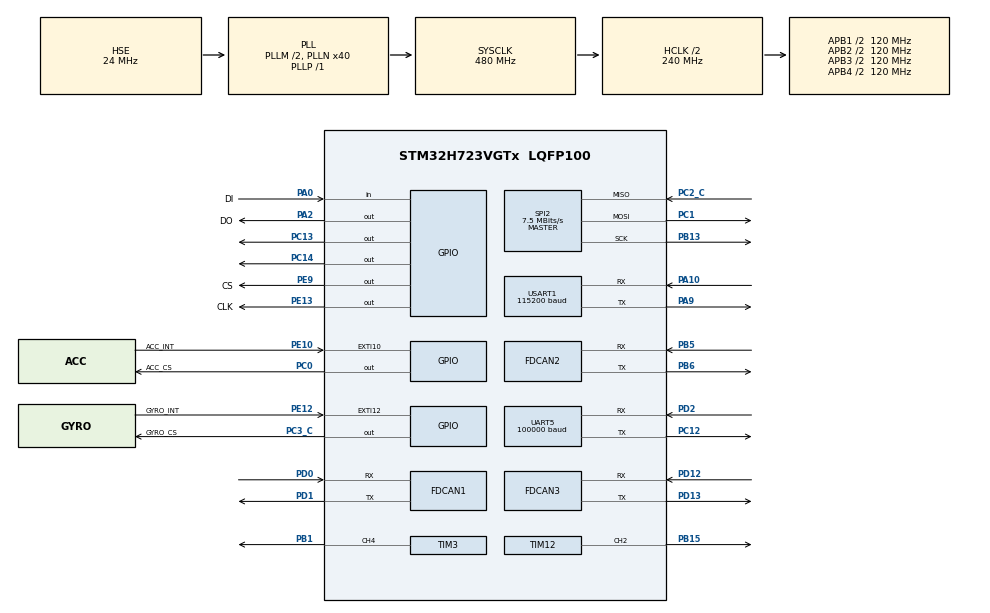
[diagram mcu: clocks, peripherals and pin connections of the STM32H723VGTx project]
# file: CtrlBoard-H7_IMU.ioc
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Dma.Request0=SPI2_RX
Dma.Request1=SPI2_TX
Dma.Request2=USART1_RX
Dma.Request3=USART1_TX
Dma.Request4=UART5_RX
Dma.SPI2_RX.0.Direction=DMA_PERIPH_TO_MEMORY
Dma.SPI2_RX.0.EventEnable=DISABLE
Dma.SPI2_RX.0.FIFOMode=DMA_FIFOMODE_DISABLE
Dma.SPI2_RX.0.Instance=DMA1_Stream0
Dma.SPI2_RX.0.MemDataAlignment=DMA_MDATAALIGN_BYTE
Dma.SPI2_RX.0.MemInc=DMA_MINC_ENABLE
Dma.SPI2_RX.0.Mode=DMA_NORMAL
Dma.SPI2_RX.0.PeriphDataAlignment=DMA_PDATAALIGN_BYTE
Dma.SPI2_RX.0.PeriphInc=DMA_PINC_DISABLE
Dma.SPI2_RX.0.Polarity=HAL_DMAMUX_REQ_GEN_RISING
Dma.SPI2_RX.0.Priority=DMA_PRIORITY_VERY_HIGH
Dma.SPI2_RX.0.RequestNumber=1
Dma.SPI2_RX.0.SignalID=NONE
Dma.SPI2_RX.0.SyncEnable=DISABLE
Dma.SPI2_RX.0.SyncPolarity=HAL_DMAMUX_SYNC_NO_EVENT
Dma.SPI2_RX.0.SyncRequestNumber=1
Dma.SPI2_RX.0.SyncSignalID=NONE
Dma.SPI2_TX.1.Direction=DMA_MEMORY_TO_PERIPH
Dma.SPI2_TX.1.EventEnable=DISABLE
Dma.SPI2_TX.1.FIFOMode=DMA_FIFOMODE_DISABLE
Dma.SPI2_TX.1.Instance=DMA1_Stream4
Dma.SPI2_TX.1.MemDataAlignment=DMA_MDATAALIGN_BYTE
Dma.SPI2_TX.1.MemInc=DMA_MINC_ENABLE
Dma.SPI2_TX.1.Mode=DMA_NORMAL
Dma.SPI2_TX.1.PeriphDataAlignment=DMA_PDATAALIGN_BYTE
Dma.SPI2_TX.1.PeriphInc=DMA_PINC_DISABLE
Dma.SPI2_TX.1.Polarity=HAL_DMAMUX_REQ_GEN_RISING
Dma.SPI2_TX.1.Priority=DMA_PRIORITY_HIGH
Dma.SPI2_TX.1.RequestNumber=1
Dma.SPI2_TX.1.SignalID=NONE
Dma.SPI2_TX.1.SyncEnable=DISABLE
Dma.SPI2_TX.1.SyncPolarity=HAL_DMAMUX_SYNC_NO_EVENT
Dma.SPI2_TX.1.SyncRequestNumber=1
Dma.SPI2_TX.1.SyncSignalID=NONE
Dma.UART5_RX.4.Direction=DMA_PERIPH_TO_MEMORY
Dma.UART5_RX.4.EventEnable=DISABLE
Dma.UART5_RX.4.FIFOMode=DMA_FIFOMODE_DISABLE
Dma.UART5_RX.4.Instance=DMA1_Stream1
Dma.UART5_RX.4.MemDataAlignment=DMA_MDATAALIGN_BYTE
Dma.UART5_RX.4.MemInc=DMA_MINC_ENABLE
Dma.UART5_RX.4.Mode=DMA_NORMAL
Dma.UART5_RX.4.PeriphDataAlignment=DMA_PDATAALIGN_BYTE
Dma.UART5_RX.4.PeriphInc=DMA_PINC_DISABLE
Dma.UART5_RX.4.Polarity=HAL_DMAMUX_REQ_GEN_RISING
Dma.UART5_RX.4.Priority=DMA_PRIORITY_LOW
Dma.UART5_RX.4.RequestNumber=1
Dma.UART5_RX.4.SignalID=NONE
Dma.UART5_RX.4.SyncEnable=DISABLE
Dma.UART5_RX.4.SyncPolarity=HAL_DMAMUX_SYNC_NO_EVENT
Dma.UART5_RX.4.SyncRequestNumber=1
Dma.UART5_RX.4.SyncSignalID=NONE
Dma.USART1_RX.2.Direction=DMA_PERIPH_TO_MEMORY
Dma.USART1_RX.2.EventEnable=DISABLE
Dma.USART1_RX.2.FIFOMode=DMA_FIFOMODE_DISABLE
Dma.USART1_RX.2.Instance=DMA1_Stream2
Dma.USART1_RX.2.MemDataAlignment=DMA_MDATAALIGN_BYTE
Dma.USART1_RX.2.MemInc=DMA_MINC_ENABLE
Dma.USART1_RX.2.Mode=DMA_NORMAL
Dma.USART1_RX.2.PeriphDataAlignment=DMA_PDATAALIGN_BYTE
Dma.USART1_RX.2.PeriphInc=DMA_PINC_DISABLE
Dma.USART1_RX.2.Polarity=HAL_DMAMUX_REQ_GEN_RISING
Dma.USART1_RX.2.Priority=DMA_PRIORITY_LOW
Dma.USART1_RX.2.RequestNumber=1
Dma.USART1_RX.2.SignalID=NONE
Dma.USART1_RX.2.SyncEnable=DISABLE
Dma.USART1_RX.2.SyncPolarity=HAL_DMAMUX_SYNC_NO_EVENT
Dma.USART1_RX.2.SyncRequestNumber=1
Dma.USART1_RX.2.SyncSignalID=NONE
Dma.USART1_TX.3.Direction=DMA_MEMORY_TO_PERIPH
Dma.USART1_TX.3.EventEnable=DISABLE
Dma.USART1_TX.3.FIFOMode=DMA_FIFOMODE_DISABLE
Dma.USART1_TX.3.Instance=DMA1_Stream3
Dma.USART1_TX.3.MemDataAlignment=DMA_MDATAALIGN_BYTE
Dma.USART1_TX.3.MemInc=DMA_MINC_ENABLE
Dma.USART1_TX.3.Mode=DMA_NORMAL
Dma.USART1_TX.3.PeriphDataAlignment=DMA_PDATAALIGN_BYTE
Dma.USART1_TX.3.PeriphInc=DMA_PINC_DISABLE
Dma.USART1_TX.3.Polarity=HAL_DMAMUX_REQ_GEN_RISING
Dma.USART1_TX.3.Priority=DMA_PRIORITY_LOW
Dma.USART1_TX.3.RequestNumber=1
Dma.USART1_TX.3.SignalID=NONE
Dma.USART1_TX.3.SyncEnable=DISABLE
Dma.USART1_TX.3.SyncPolarity=HAL_DMAMUX_SYNC_NO_EVENT
Dma.USART1_TX.3.SyncRequestNumber=1
Dma.USART1_TX.3.SyncSignalID=NONE
FDCAN1.CalculateBaudRateNominal=1000000
FDCAN1.CalculateTimeBitNominal=1000
FDCAN1.CalculateTimeQuantumNominal=40.0
FDCAN1.DataPrescaler=4
FDCAN1.DataTimeSeg1=19
FDCAN1.DataTimeSeg2=5
FDCAN1.ExtFiltersNbr=5
FDCAN1.NominalPrescaler=4
FDCAN1.NominalTimeSeg1=19
FDCAN1.NominalTimeSeg2=5
FDCAN1.RxFifo0ElmtSize=FDCAN_DATA_BYTES_24
FDCAN1.RxFifo0ElmtsNbr=4
FDCAN1.RxFifo1ElmtSize=FDCAN_DATA_BYTES_24
FDCAN1.StdFiltersNbr=5
FDCAN1.TxElmtSize=FDCAN_DATA_BYTES_24
FDCAN1.TxFifoQueueElmtsNbr=8
FDCAN2.CalculateBaudRateNominal=1000000
FDCAN2.CalculateTimeBitNominal=1000
FDCAN2.CalculateTimeQuantumNominal=50.0
FDCAN2.DataPrescaler=5
FDCAN2.DataTimeSeg1=14
FDCAN2.DataTimeSeg2=5
FDCAN2.ExtFiltersNbr=5
FDCAN2.MessageRAMOffset=854
FDCAN2.NominalPrescaler=5
FDCAN2.NominalTimeSeg1=14
FDCAN2.NominalTimeSeg2=5
FDCAN2.RxFifo1ElmtSize=FDCAN_DATA_BYTES_24
FDCAN2.RxFifo1ElmtsNbr=4
FDCAN2.StdFiltersNbr=5
FDCAN2.TxElmtSize=FDCAN_DATA_BYTES_16
FDCAN2.TxFifoQueueElmtsNbr=4
FDCAN3.CalculateBaudRateNominal=1000000
FDCAN3.CalculateTimeBitNominal=1000
FDCAN3.CalculateTimeQuantumNominal=50.0
FDCAN3.DataPrescaler=5
FDCAN3.DataTimeSeg1=14
FDCAN3.DataTimeSeg2=5
FDCAN3.ExtFiltersNbr=5
FDCAN3.MessageRAMOffset=1709
FDCAN3.NominalPrescaler=5
FDCAN3.NominalTimeSeg1=14
FDCAN3.NominalTimeSeg2=5
FDCAN3.RxFifo0ElmtsNbr=2
FDCAN3.StdFiltersNbr=5
FDCAN3.TxFifoQueueElmtsNbr=3
FREERTOS.MEMORY_ALLOCATION=0
FREERTOS.Tasks01=defaultTask,0,128,StartDefaultTask,Default,NULL,Dynamic,NULL,NULL;INS_TASK,3,512,INS_Task,Default,NULL,Dynamic,NULL,NULL;CHASSISR_TASK,1,512,ChassisR_Task,Default,NULL,Dynamic,NULL,NULL
FREERTOS.configENABLE_FPU=1
FREERTOS.configTOTAL_HEAP_SIZE=30720
Mcu.Family=STM32H7
Mcu.Name=STM32H723VGTx
Mcu.Package=LQFP100
NVIC.DMA1_Stream0_IRQn=true\:6\:0\:true\:false\:true\:true\:false\:true\:true
NVIC.DMA1_Stream1_IRQn=true\:6\:0\:true\:false\:true\:true\:false\:true\:true
NVIC.DMA1_Stream2_IRQn=true\:5\:0\:false\:false\:true\:true\:false\:true\:true
NVIC.DMA1_Stream3_IRQn=true\:5\:0\:false\:false\:true\:true\:false\:true\:true
NVIC.DMA1_Stream4_IRQn=true\:5\:0\:false\:false\:true\:true\:false\:true\:true
NVIC.FDCAN1_IT0_IRQn=true\:6\:0\:true\:false\:true\:true\:true\:true\:true
NVIC.FDCAN2_IT0_IRQn=true\:5\:0\:true\:false\:true\:true\:true\:true\:true
NVIC.FDCAN3_IT0_IRQn=true\:5\:0\:false\:false\:true\:true\:true\:true\:true
NVIC.PriorityGroup=NVIC_PRIORITYGROUP_4
NVIC.SPI2_IRQn=true\:5\:0\:true\:false\:true\:true\:false\:true\:true
NVIC.TIM2_IRQn=true\:15\:0\:false\:false\:true\:false\:false\:true\:true
NVIC.TimeBase=TIM2_IRQn
NVIC.TimeBaseIP=TIM2
NVIC.UART5_IRQn=true\:5\:0\:false\:false\:true\:true\:true\:true\:true
NVIC.USART1_IRQn=true\:5\:0\:false\:false\:true\:true\:true\:true\:true
PA0.GPIO_Label=DI
PA0.GPIO_PuPd=GPIO_PULLUP
PA0.Signal=GPIO_Input
PA10.Mode=Asynchronous
PA10.Signal=USART1_RX
PA13(JTMS/SWDIO).Mode=Serial_Wire
PA13(JTMS/SWDIO).Signal=DEBUG_JTMS-SWDIO
PA14(JTCK/SWCLK).Mode=Serial_Wire
PA14(JTCK/SWCLK).Signal=DEBUG_JTCK-SWCLK
PA2.GPIO_Label=DO
PA2.GPIO_PuPd=GPIO_PULLUP
PA2.GPIO_Speed=GPIO_SPEED_FREQ_VERY_HIGH
PA2.PinState=GPIO_PIN_SET
PA2.Signal=GPIO_Output
PA9.Mode=Asynchronous
PA9.Signal=USART1_TX
PB1.Signal=S_TIM3_CH4
PB13.GPIO_Speed=GPIO_SPEED_FREQ_VERY_HIGH
PB13.Mode=Full_Duplex_Master
PB13.Signal=SPI2_SCK
PB15.Signal=S_TIM12_CH2
PB5.Mode=FDCAN_Activate
PB5.Signal=FDCAN2_RX
PB6.Mode=FDCAN_Activate
PB6.Signal=FDCAN2_TX
PC0.GPIO_Label=ACC_CS
PC0.GPIO_Speed=GPIO_SPEED_FREQ_VERY_HIGH
PC0.PinState=GPIO_PIN_SET
PC0.Signal=GPIO_Output
PC1.GPIO_Speed=GPIO_SPEED_FREQ_VERY_HIGH
PC1.Mode=Full_Duplex_Master
PC1.Signal=SPI2_MOSI
PC12.Mode=Asynchronous
PC12.Signal=UART5_TX
PC13.Signal=GPIO_Output
PC14-OSC32_IN.Signal=GPIO_Output
PC2_C.GPIO_Speed=GPIO_SPEED_FREQ_VERY_HIGH
PC2_C.Mode=Full_Duplex_Master
PC2_C.Signal=SPI2_MISO
PC3_C.GPIO_Label=GYRO_CS
PC3_C.GPIO_Speed=GPIO_SPEED_FREQ_VERY_HIGH
PC3_C.PinState=GPIO_PIN_SET
PC3_C.Signal=GPIO_Output
PD0.Mode=FDCAN_Activate
PD0.Signal=FDCAN1_RX
PD1.Mode=FDCAN_Activate
PD1.Signal=FDCAN1_TX
PD12.Mode=FDCAN_Activate
PD12.Signal=FDCAN3_RX
PD13.Mode=FDCAN_Activate
PD13.Signal=FDCAN3_TX
PD2.Mode=Asynchronous
PD2.Signal=UART5_RX
PE10.GPIO_Label=ACC_INT
PE10.Signal=GPXTI10
PE12.GPIO_Label=GYRO_INT
PE12.Signal=GPXTI12
PE13.GPIO_Label=CLK
PE13.GPIO_PuPd=GPIO_PULLUP
PE13.GPIO_Speed=GPIO_SPEED_FREQ_VERY_HIGH
PE13.PinState=GPIO_PIN_SET
PE13.Signal=GPIO_Output
PE9.GPIO_Label=CS
PE9.GPIO_PuPd=GPIO_PULLUP
PE9.GPIO_Speed=GPIO_SPEED_FREQ_VERY_HIGH
PE9.PinState=GPIO_PIN_SET
PE9.Signal=GPIO_Output
PH0-OSC_IN.Mode=HSE-External-Oscillator
PH0-OSC_IN.Signal=RCC_OSC_IN
PH1-OSC_OUT.Mode=HSE-External-Oscillator
PH1-OSC_OUT.Signal=RCC_OSC_OUT
ProjectManager.HeapSize=0x200
ProjectManager.StackSize=0x800
ProjectManager.TargetToolchain=CMake
RCC.ADCFreq_Value=100000000
RCC.APB1Freq_Value=120000000
RCC.APB2Freq_Value=120000000
RCC.APB3Freq_Value=120000000
RCC.APB4Freq_Value=120000000
RCC.CortexFreq_Value=480000000
RCC.D1PPRE=RCC_APB3_DIV2
RCC.D2PPRE1=RCC_APB1_DIV2
RCC.D2PPRE2=RCC_APB2_DIV2
RCC.D3PPRE=RCC_APB4_DIV2
RCC.DIVM1=2
RCC.DIVM2=24
RCC.DIVN1=40
RCC.DIVN2=200
RCC.DIVP1=1
RCC.FDCANCLockSelection=RCC_FDCANCLKSOURCE_PLL2
RCC.HCLKFreq_Value=240000000
RCC.HPRE=RCC_HCLK_DIV2
RCC.HSE_VALUE=24000000
RCC.PLL2FRACN=0
RCC.PLL3FRACN=0
RCC.PLLFRACN=0
RCC.PLLSourceVirtual=RCC_PLLSOURCE_HSE
RCC.SYSCLKFreq_VALUE=480000000
RCC.SYSCLKSource=RCC_SYSCLKSOURCE_PLLCLK
RCC.USBFreq_Value=240000000
SH.S_TIM12_CH2.0=TIM12_CH2,PWM Generation2 CH2
SH.S_TIM3_CH4.0=TIM3_CH4,PWM Generation4 CH4
SPI2.BaudRatePrescaler=SPI_BAUDRATEPRESCALER_32
SPI2.CLKPhase=SPI_PHASE_2EDGE
SPI2.CLKPolarity=SPI_POLARITY_HIGH
SPI2.CalculateBaudRate=7.5 MBits/s
SPI2.DataSize=SPI_DATASIZE_8BIT
SPI2.Direction=SPI_DIRECTION_2LINES
SPI2.Mode=SPI_MODE_MASTER
SPI2.VirtualType=VM_MASTER
TIM12.Channel-PWM\ Generation2\ CH2=TIM_CHANNEL_2
TIM12.Period=2000-1
TIM12.Prescaler=24-1
TIM12.Pulse-PWM\ Generation2\ CH2=1000
TIM3.AutoReloadPreload=TIM_AUTORELOAD_PRELOAD_ENABLE
TIM3.Channel-PWM\ Generation4\ CH4=TIM_CHANNEL_4
TIM3.Period=10000-1
TIM3.Prescaler=24-1
UART5.BaudRate=100000
UART5.Parity=PARITY_EVEN
UART5.StopBits=UART_STOPBITS_2
UART5.WordLength=WORDLENGTH_9B
USART1.BaudRate=115200
USART1.VirtualMode-Asynchronous=VM_ASYNC
VP_FREERTOS_VS_CMSIS_V1.Mode=CMSIS_V1
VP_MEMORYMAP_VS_MEMORYMAP.Mode=CurAppReg
VP_SYS_VS_tim2.Mode=TIM2
board=custom

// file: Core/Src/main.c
/* USER CODE BEGIN Header */
/**
  ******************************************************************************
  * @file           : main.c
  * @brief          : 六轮差速车主程序入口
  ******************************************************************************
  * @attention
  *
  * Copyright (c) 2024 STMicroelectronics.
  * All rights reserved.
  *
  * This software is licensed under terms that can be found in the LICENSE file
  * in the root directory of this software component.
  * If no LICENSE file comes with this software, it is provided AS-IS.
  *
  ******************************************************************************
  */
/* USER CODE END Header */
/* 头文件 ------------------------------------------------------------------*/
#include "main.h"
#include "cmsis_os.h"
#include "dma.h"
#include "fdcan.h"
#include "spi.h"
#include "tim.h"
#include "usart.h"
#include "gpio.h"

/* 用户头文件 --------------------------------------------------------------*/
/* USER CODE BEGIN Includes */
#include "BMI088driver.h"
#include "kalman_filter.h"
#include "mahony_filter.h"
#include "bsp_dwt.h"
#include "BMI088Middleware.h"
#include "can_bsp.h"
#include "rc_sbus.h"
#include "Chaiss_Communication.h"
/* USER CODE END Includes */

/* 用户类型定义 ------------------------------------------------------------*/

/* 用户宏定义 --------------------------------------------------------------*/

/* 用户宏 ------------------------------------------------------------------*/

/* 用户变量 ----------------------------------------------------------------*/

/* 函数声明 ------------------------------------------------------------*/
void SystemClock_Config(void);
void PeriphCommonClock_Config(void);
void MX_FREERTOS_Init(void);

/* 用户私有代码 -------------------------------------------------------------*/

/**
  * @brief  应用程序入口
  * @retval 程序返回值；嵌入式程序正常运行时不会返回
  */
int main(void)
{

  /* 微控制器配置 -------------------------------------------------------------*/

  /* 复位所有外设，初始化 Flash 接口和 HAL 系统时基。 */
  HAL_Init();

  /* USER CODE BEGIN Init */
//06 01 00 00 00 00 00 00 00 00 00 00 00 00 80 3F
  /* USER CODE END Init */

  /* 配置系统主时钟。 */
  SystemClock_Config();

  /* 配置 FDCAN 等外设使用的公共时钟。 */
  PeriphCommonClock_Config();

  /* 初始化 CubeMX 配置的全部外设。 */
  MX_GPIO_Init();
  MX_DMA_Init();
  MX_SPI2_Init();
  MX_FDCAN1_Init();
  MX_FDCAN2_Init();
  MX_TIM3_Init();
  MX_FDCAN3_Init();
  MX_USART1_UART_Init();
  MX_UART5_Init();
  MX_TIM12_Init();
  /* USER CODE BEGIN 2 */
  	DWT_Init(480);

  /* 初始化 BMI088；初始化失败时持续重试，防止在 IMU 不可用时启动底盘。 */
  while (BMI088_init(&hspi2, 0) != BMI088_NO_ERROR)
	{
	  ;
	}

	/* IMU 初始化完成后开启两路外设电源输出。 */
	Power_OUT1_ON;
	Power_OUT2_ON;

  /* 配置并启动左右两侧电机使用的两路 FDCAN。 */
  FDCAN1_Config();
	FDCAN2_Config();

  /* UART5 receives SBUS; USART1 (PA9/PA10, 115200 8N1) receives VX/VY/VZ. */
  rc_sbus_init();
  Chaiss_Communication_Init();  /* USER CODE END 2 */

  /* 调用 FreeRTOS 对象初始化函数。 */
  MX_FREERTOS_Init();

  /* 启动 FreeRTOS 调度器；成功后程序由各任务接管。 */
  osKernelStart();

  /* 正常情况下不会执行到下面的 while 循环。 */
  while (1)
  {

  }
}

/**
  * @brief 配置系统时钟
  * @retval 无
  */
void SystemClock_Config(void)
{
  RCC_OscInitTypeDef RCC_OscInitStruct = {0};
  RCC_ClkInitTypeDef RCC_ClkInitStruct = {0};

  /** 允许更新电源配置
  */
  HAL_PWREx_ConfigSupply(PWR_LDO_SUPPLY);

  /** 配置主内部稳压器输出电压
  */
  __HAL_PWR_VOLTAGESCALING_CONFIG(PWR_REGULATOR_VOLTAGE_SCALE0);

  while(!__HAL_PWR_GET_FLAG(PWR_FLAG_VOSRDY)) {}

  /** 根据指定参数初始化 RCC 振荡器
  * 参数保存在 RCC_OscInitTypeDef 结构体中。
  */
  RCC_OscInitStruct.OscillatorType = RCC_OSCILLATORTYPE_HSE;
  RCC_OscInitStruct.HSEState = RCC_HSE_ON;
  RCC_OscInitStruct.PLL.PLLState = RCC_PLL_ON;
  RCC_OscInitStruct.PLL.PLLSource = RCC_PLLSOURCE_HSE;
  RCC_OscInitStruct.PLL.PLLM = 2;
  RCC_OscInitStruct.PLL.PLLN = 40;
  RCC_OscInitStruct.PLL.PLLP = 1;
  RCC_OscInitStruct.PLL.PLLQ = 2;
  RCC_OscInitStruct.PLL.PLLR = 2;
  RCC_OscInitStruct.PLL.PLLRGE = RCC_PLL1VCIRANGE_3;
  RCC_OscInitStruct.PLL.PLLVCOSEL = RCC_PLL1VCOWIDE;
  RCC_OscInitStruct.PLL.PLLFRACN = 0;
  if (HAL_RCC_OscConfig(&RCC_OscInitStruct) != HAL_OK)
  {
    Error_Handler();
  }

  /** 初始化 CPU、AHB 和 APB 总线时钟
  */
  RCC_ClkInitStruct.ClockType = RCC_CLOCKTYPE_HCLK|RCC_CLOCKTYPE_SYSCLK
                              |RCC_CLOCKTYPE_PCLK1|RCC_CLOCKTYPE_PCLK2
                              |RCC_CLOCKTYPE_D3PCLK1|RCC_CLOCKTYPE_D1PCLK1;
  RCC_ClkInitStruct.SYSCLKSource = RCC_SYSCLKSOURCE_PLLCLK;
  RCC_ClkInitStruct.SYSCLKDivider = RCC_SYSCLK_DIV1;
  RCC_ClkInitStruct.AHBCLKDivider = RCC_HCLK_DIV2;
  RCC_ClkInitStruct.APB3CLKDivider = RCC_APB3_DIV2;
  RCC_ClkInitStruct.APB1CLKDivider = RCC_APB1_DIV2;
  RCC_ClkInitStruct.APB2CLKDivider = RCC_APB2_DIV2;
  RCC_ClkInitStruct.APB4CLKDivider = RCC_APB4_DIV2;

  if (HAL_RCC_ClockConfig(&RCC_ClkInitStruct, FLASH_LATENCY_3) != HAL_OK)
  {
    Error_Handler();
  }
}

/**
  * @brief 配置外设公共时钟
  * @retval 无
  */
void PeriphCommonClock_Config(void)
{
  RCC_PeriphCLKInitTypeDef PeriphClkInitStruct = {0};

  /** 初始化外设时钟
  */
  PeriphClkInitStruct.PeriphClockSelection = RCC_PERIPHCLK_FDCAN;
  PeriphClkInitStruct.PLL2.PLL2M = 24;
  PeriphClkInitStruct.PLL2.PLL2N = 200;
  PeriphClkInitStruct.PLL2.PLL2P = 2;
  PeriphClkInitStruct.PLL2.PLL2Q = 2;
  PeriphClkInitStruct.PLL2.PLL2R = 2;
  PeriphClkInitStruct.PLL2.PLL2RGE = RCC_PLL2VCIRANGE_0;
  PeriphClkInitStruct.PLL2.PLL2VCOSEL = RCC_PLL2VCOMEDIUM;
  PeriphClkInitStruct.PLL2.PLL2FRACN = 0;
  PeriphClkInitStruct.FdcanClockSelection = RCC_FDCANCLKSOURCE_PLL2;
  if (HAL_RCCEx_PeriphCLKConfig(&PeriphClkInitStruct) != HAL_OK)
  {
    Error_Handler();
  }
}

/**
  * @brief  定时器周期到达回调函数
  * @note   TIM2 产生中断后由 HAL_TIM_IRQHandler() 调用本函数，
  *         再调用 HAL_IncTick() 更新系统时基变量 uwTick。
  * @param  htim 定时器句柄
  * @retval 无
  */
void HAL_TIM_PeriodElapsedCallback(TIM_HandleTypeDef *htim)
{
  if (htim->Instance == TIM2)
  {
    HAL_IncTick();
  }
}

/**
  * @brief  HAL 初始化或配置失败时进入的错误处理函数
  * @retval 无
  */
void Error_Handler(void)
{
  /* USER CODE BEGIN Error_Handler_Debug */
  /* 用户可在此添加 HAL 错误状态上报代码。 */
  __disable_irq();
  while (1)
  {
  }
  /* USER CODE END Error_Handler_Debug */
}
#ifdef USE_FULL_ASSERT
/**
  * @brief  报告 assert_param 断言失败所在的源文件和行号
  * @param  file 源文件名指针
  * @param  line 发生错误的源代码行号
  * @retval 无
  */
void assert_failed(uint8_t *file, uint32_t line)
{
  /* USER CODE BEGIN 6 */
  /* 可在此输出文件名和行号，例如通过串口打印断言失败位置。 */
  /* USER CODE END 6 */
}
#endif /* USE_FULL_ASSERT */

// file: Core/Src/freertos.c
/* USER CODE BEGIN Header */
/**
  ******************************************************************************
  * File Name          : freertos.c
  * Description        : Code for freertos applications
  ******************************************************************************
  * @attention
  *
  * Copyright (c) 2024 STMicroelectronics.
  * All rights reserved.
  *
  * This software is licensed under terms that can be found in the LICENSE file
  * in the root directory of this software component.
  * If no LICENSE file comes with this software, it is provided AS-IS.
  *
  ******************************************************************************
  */
/* USER CODE END Header */

/* 说明 ------------------------------------------------------------------*/
#include "FreeRTOS.h"
#include "task.h"
#include "main.h"
#include "cmsis_os.h"

/* 说明 --------------------------------------------------------------*/
/* USER CODE BEGIN Includes */
#include "tim.h"
#include "fdcan.h"
#include "usart.h"
#include "INS_task.h"
#include "chassis_task.h"
#include "kinematics.h"
#include "vehicle_config.h"
#include "hm_motor.h"
#include "rc_sbus.h"
#include "chassis_command.h"
#include "chassis_safety.h"
#include "Chaiss_Communication.h"
#include <math.h>

#ifndef M_PI_2
#define M_PI_2 1.57079632679489661923
#endif
/* USER CODE END Includes */

/* 说明 ------------------------------------------------------------*/

/* 说明 --------------------------------------------------------------*/

/* 说明 ------------------------------------------------------------------*/

/* 说明 ----------------------------------------------------------------*/
osThreadId defaultTaskHandle;
osThreadId INS_TASKHandle;
osThreadId CHASSISR_TASKHandle;

/* 说明 ------------------------------------------------------------*/
/* USER CODE BEGIN FunctionPrototypes */
/* 一阶低通滤波：alpha 取 0~1，值越大响应越快，滤波效果越弱。 */
static inline float lpf_first_order(float prev, float input, float alpha)
{
  if (alpha < 0.0f) alpha = 0.0f;
  else if (alpha > 1.0f) alpha = 1.0f;
  return prev + alpha * (input - prev);
}

/* USER CODE END FunctionPrototypes */

void StartDefaultTask(void const * argument);
void INS_Task(void const * argument);
void ChassisR_Task(void const * argument);

void MX_FREERTOS_Init(void); /* (MISRA C 2004 rule 8.1) */

/**
  * @brief  说明 FreeRTOS
  * @param  ?
  * @retval ?
  */
void MX_FREERTOS_Init(void) {

  /* USER CODE BEGIN RTOS_MUTEX */
  /* 说明 */
  /* USER CODE END RTOS_MUTEX */

  /* USER CODE BEGIN RTOS_SEMAPHORES */
  /* 说明 */
  /* USER CODE END RTOS_SEMAPHORES */

  /* USER CODE BEGIN RTOS_TIMERS */
  /* 说明 */
  /* USER CODE END RTOS_TIMERS */

  /* USER CODE BEGIN RTOS_QUEUES */
  /* 说明 */
  /* USER CODE END RTOS_QUEUES */

  /* 说明 */
  /* 说明 */
  osThreadDef(defaultTask, StartDefaultTask, osPriorityNormal, 0, 128);
  defaultTaskHandle = osThreadCreate(osThread(defaultTask), NULL);

  /* 说明 */
  osThreadDef(INS_TASK, INS_Task, osPriorityRealtime, 0, 512);
  INS_TASKHandle = osThreadCreate(osThread(INS_TASK), NULL);

  /* 说明 */
  osThreadDef(CHASSISR_TASK, ChassisR_Task, osPriorityAboveNormal, 0, 512);
  CHASSISR_TASKHandle = osThreadCreate(osThread(CHASSISR_TASK), NULL);

  /* USER CODE BEGIN RTOS_THREADS */
  /* 说明 */
  /* USER CODE END RTOS_THREADS */

}

/* USER CODE BEGIN Header_StartDefaultTask */
/**
  * @brief  说明
  * @param  argument说明
  * @retval ?
  */
/* USER CODE END Header_StartDefaultTask */
void StartDefaultTask(void const * argument)
{
  /* USER CODE BEGIN StartDefaultTask */
  /*
   * 遥控任务只生成“目标值”，不直接发送电机命令：
   * CH8 三段拨杆选择控制源：下拨失能，中置仅串口，上拨仅 SBUS。
   * SBUS 遥控器模拟 Twist 指令：
   *   CH3 -> linear_x (m/s)
   *   CH1 -> angular_z (rad/s)
   * 底盘任务只读取统一 chassis_command，不关心指令来源。
   */
  static rc_control_mode_e active_control_mode = RC_CONTROL_DISABLED;
  static chassis_safety_t chassis_safety;
  static uint8_t chassis_safety_initialized = 0u;
  static float yaw_rate_cmd_filt = 0.0f;
  static float v_cmd_filt = 0.0f;
  static uint32_t last_uart_error_count = 0u;
  const float yaw_lpf_alpha = 0.2f;
  const float v_lpf_alpha   = 0.2f;

  /* 说明 */
  for(;;)
  {
    if (chassis_safety_initialized == 0u)
    {
      chassis_safety_init(&chassis_safety);
      chassis_safety_initialized = 1u;
    }
    rc_sbus_update();

    {
      rc_control_mode_e requested_mode = RC_CONTROL_DISABLED;
      uint8_t rc_neutral;
      uint8_t serial_fresh;
      uint8_t serial_neutral;
      uint8_t uart_fault_event;
      chassis_safety_state_e safety_state;

      if (rc_sbus.online)
      {
        requested_mode = rc_control_mode_from_pwm(
            rc_sbus.ch_pwm[g_sbus_ch_map.control_mode]);
      }

      rc_neutral =
          (rc_sbus_channel_norm(g_sbus_ch_map.throttle) == 0.0f &&
           rc_sbus_channel_norm(g_sbus_ch_map.steer) == 0.0f) ? 1u : 0u;

      /*
       * Keep parsing serial input while unarmed only in the explicitly selected
       * serial mode. The independent chassis command gate still rejects motion.
       */
      Chaiss_Communication_SetCommandEnabled(
          (rc_sbus.online && requested_mode == RC_CONTROL_SERIAL) ? 1u : 0u);
      serial_fresh = Chaiss_Communication_IsOnline();
      serial_neutral =
          (fabsf(g_chaiss_communication.vx) <= 0.0001f &&
           fabsf(g_chaiss_communication.vy) <= 0.0001f &&
           fabsf(g_chaiss_communication.vz) <= 0.0001f) ? 1u : 0u;
      uart_fault_event =
          (g_chaiss_communication.uart_error_count != last_uart_error_count) ? 1u : 0u;
      last_uart_error_count = g_chaiss_communication.uart_error_count;
      safety_state = chassis_safety_update(
          &chassis_safety, rc_sbus.online ? 1u : 0u, requested_mode,
          rc_neutral, serial_fresh, serial_neutral, uart_fault_event);
      chassis_command_set_safety_enabled(
          (safety_state == CHASSIS_SAFETY_ARMED) ? 1u : 0u);

      if (requested_mode != active_control_mode)
      {
        /* 切换控制源时先清掉旧指令，避免旧命令跨模式残留。 */
        chassis_command_stop(CHASSIS_CMD_RC);
        active_control_mode = requested_mode;
        yaw_rate_cmd_filt = 0.0f;
        v_cmd_filt = 0.0f;
      }

      if ((requested_mode == RC_CONTROL_DISABLED) ||
          (safety_state != CHASSIS_SAFETY_ARMED))
      {
        /*
         * Boot, receiver recovery, mode changes and serial lease expiry all
         * remain logically disarmed until CH8 is deliberately cycled through
         * disabled with neutral controls. This software gate is not an E-stop.
         */
        chassis_command_stop(CHASSIS_CMD_RC);
        osDelay(10);
        continue;
      }

      if (requested_mode == RC_CONTROL_SERIAL)
      {
        /* CH8 中置：仅在新鲜零速帧完成手动互锁后允许串口控制。 */
        osDelay(10);
        continue;
      }

      /* CH8 上拨：关闭 USART1 指令入口，只发布 SBUS 遥控指令。 */
      Chaiss_Communication_SetCommandEnabled(0u);

      /* CH1 -> angular_z；不再积分为目标航向角。 */
      {
        /*
         * 正值约定为逆时针。IMU 反馈闭环在 Chassis_task 中完成。
         */
        float yaw_rate_raw = rc_sbus_channel_norm(g_sbus_ch_map.steer)
                           * YAW_RATE_MAX_RADPS * RC_STEER_SIGN;
        yaw_rate_cmd_filt = lpf_first_order(yaw_rate_cmd_filt, yaw_rate_raw, yaw_lpf_alpha);
      }

      /* CH3 -> 车体系线速度指令。 */
      {
        /* 油门归一化范围约为 [-1,+1]，再换算为车辆线速度 m/s。 */
        float v_set_raw = rc_sbus_channel_norm(g_sbus_ch_map.throttle) * V_CMD_MAX_MS;
        v_cmd_filt = lpf_first_order(v_cmd_filt, v_set_raw, v_lpf_alpha);
        chassis_move.v_set = v_cmd_filt;
      }

      if (rc_sbus.ch_pwm[g_sbus_ch_map.heading_lock] <
          SBUS_HEADING_LOCK_THRESHOLD)
      {
        /* SWC up: capture and hold the current yaw angle. */
        chassis_command_publish_heading_lock(CHASSIS_CMD_RC);
      }
      else
      {
        /* SWC down: leave heading lock and restore normal RC velocity mode. */
        chassis_command_publish(v_cmd_filt, yaw_rate_cmd_filt,
                                1u, CHASSIS_CMD_RC);
      }
    }

    osDelay(10);
  }
  /* USER CODE END StartDefaultTask */
}

/* USER CODE BEGIN Header_INS_Task */
/**
* @brief 说明
* @param argument说明
* @retval ?
*/
/* USER CODE END Header_INS_Task */
void INS_Task(void const * argument)
{
  /* USER CODE BEGIN INS_Task */

  /* 说明 */
  for(;;)
  {
    INS_task();
  }
  /* USER CODE END INS_Task */
}

/* USER CODE BEGIN Header_ChassisR_Task */
/**
* @brief Function implementing the CHASSISR_TASK thread.
* @param argument说明
* @retval ?
*/
/* USER CODE END Header_ChassisR_Task */
void ChassisR_Task(void const * argument)
{
  /* USER CODE BEGIN ChassisR_Task */
  /* 说明 */
  for(;;)
  {
    Chassis_task();
  }
  /* USER CODE END ChassisR_Task */
}

/* 私有应用代码 --------------------------------------------------------------*/
